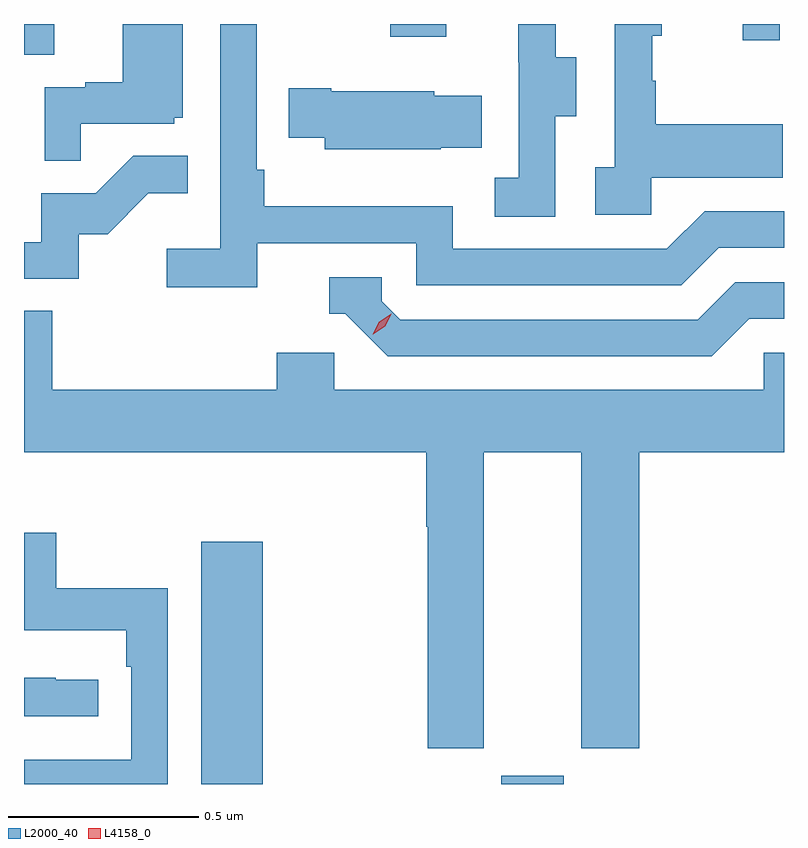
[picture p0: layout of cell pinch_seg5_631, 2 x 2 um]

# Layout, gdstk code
import gdstk
lib = gdstk.Library(unit=1e-6, precision=1e-09)
def R(c, l, rs):  # rectangles x0, y0, x1, y1
    for r in rs: c.add(gdstk.rectangle(r[:2], r[2:], *l))
def P(c, l, *ps):  # polygons
    for p in ps: c.add(gdstk.Polygon(p, *l))
L2000_40 = (2000, 40)
L4158_0 = (4158, 0)

pinch_seg5_631 = lib.new_cell('pinch_seg5_631')
R(pinch_seg5_631, L2000_40, [(1014.257,870.539,1014.418,871.177), (1015.046,870.539,1015.21,870.561), (1013.79,872.458,1013.869,872.539), (1015.682,872.496,1015.779,872.539), (1014.754,872.505,1014.901,872.539)])
P(pinch_seg5_631, L2000_40, [(1013.939,872.277),(1014.186,872.277),(1014.186,872.292),(1014.208,872.292),(1014.208,872.539),(1014.05,872.539),(1014.05,872.386),(1013.951,872.386),(1013.951,872.373),(1013.844,872.373),(1013.844,872.179),(1013.939,872.179)],
  [(1015.188,872.296),(1015.243,872.296),(1015.243,872.451),(1015.189,872.451),(1015.189,872.539),(1015.091,872.539),(1015.091,872.439),(1015.092,872.439),(1015.092,872.135),(1015.029,872.135),(1015.029,872.032),(1015.188,872.032)],
  [(1015.44,872.135),(1015.787,872.135),(1015.787,872.275),(1015.453,872.275),(1015.453,872.39),(1015.443,872.39),(1015.443,872.508),(1015.468,872.508),(1015.468,872.539),(1015.344,872.539),(1015.344,872.162),(1015.293,872.162),(1015.293,872.037),(1015.44,872.037)],
  [(1014.404,871.962),(1014.822,871.962),(1014.822,871.851),(1015.519,871.851),(1015.618,871.95),(1015.79,871.95),(1015.79,872.046),(1015.581,872.046),(1015.482,871.947),(1014.918,871.947),(1014.918,872.059),(1014.422,872.059),(1014.422,872.155),(1014.402,872.155),(1014.402,872.539),(1014.306,872.539),(1014.306,871.948),(1014.165,871.948),(1014.165,871.846),(1014.404,871.846)],
  [(1014.887,872.213),(1014.995,872.213),(1014.995,872.35),(1014.87,872.35),(1014.87,872.362),(1014.598,872.362),(1014.598,872.37),(1014.487,872.37),(1014.487,872.24),(1014.581,872.24),(1014.581,872.21),(1014.887,872.21)],
  [(1013.934,871.986),(1014.01,871.986),(1014.117,872.093),(1014.221,872.093),(1014.221,872.192),(1014.077,872.192),(1013.979,872.094),(1013.835,872.094),(1013.835,871.965),(1013.79,871.965),(1013.79,871.869),(1013.934,871.869)],
  [(1015.699,871.764),(1015.79,871.764),(1015.79,871.86),(1015.662,871.86),(1015.563,871.761),(1014.78,871.761),(1014.732,871.809),(1014.732,871.872),(1014.593,871.872),(1014.593,871.776),(1014.636,871.776),(1014.747,871.665),(1015.6,871.665)],
  [(1015,871.412),(1015.256,871.412),(1015.256,870.633),(1015.409,870.633),(1015.409,871.412),(1015.79,871.412),(1015.79,871.674),(1015.737,871.674),(1015.737,871.576),(1014.606,871.576),(1014.606,871.674),(1014.455,871.674),(1014.455,871.576),(1013.864,871.576),(1013.864,871.784),(1013.79,871.784),(1013.79,871.412),(1014.848,871.412),(1014.848,871.216),(1014.853,871.216),(1014.853,870.633),(1015,870.633)],
  [(1014.168,871.054),(1013.875,871.054),(1013.875,871.2),(1013.79,871.2),(1013.79,870.944),(1014.059,870.944),(1014.059,870.848),(1014.072,870.848),(1014.072,870.603),(1013.79,870.603),(1013.79,870.539),(1014.168,870.539)],
  [(1013.986,870.813),(1013.873,870.813),(1013.873,870.818),(1013.79,870.818),(1013.79,870.717),(1013.986,870.717)])
P(pinch_seg5_631, L4158_0, [(1014.708,871.723),(1014.708,871.723),(1014.725,871.756),(1014.756,871.776),(1014.756,871.776),(1014.756,871.776),(1014.74,871.743),(1014.709,871.723)])

lib.write_gds('pinch_seg5_631.gds')
